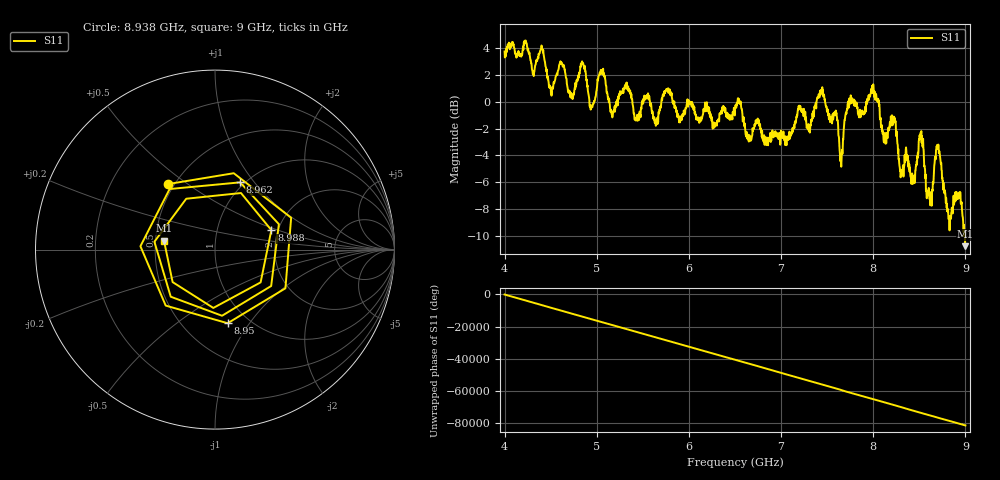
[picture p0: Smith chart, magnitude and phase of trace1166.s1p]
! Created with skrf 1.8.0 (http://scikit-rf.org).
# Hz S RI R 50.0
!freq ReS11 ImS11
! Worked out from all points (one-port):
!   1601 points, 4 GHz to 9 GHz, reference 50 ohm
!   lowest |S11| = -10.8 dB at 9 GHz (marker M1), VSWR 1.81, Z = 27.7 + j3.03 ohm
!   |S11| at or under -10 dB: 8.99049 GHz to 8.991801 GHz (1.311 MHz wide, 0.0146 % of centre); 8.99494 GHz to end of sweep
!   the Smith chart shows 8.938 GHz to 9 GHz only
!   S11 on the Smith chart (normalised r, x): 8.938 GHz: 0.46, +0.42; 8.95 GHz: 0.80, -0.79; 8.962 GHz: 0.95, +0.85; 8.988 GHz: 1.84, +0.45; 9 GHz: 0.55, +0.06
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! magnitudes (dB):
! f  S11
! 4 GHz  3.8
! 4.4 GHz  4.2
! 4.503 GHz  0.6
! 4.625 GHz  2.8
! 4.719 GHz  0.7
! 4.847 GHz  2.8
! 4.944 GHz  -0.4
! 5.044 GHz  2.4
! 5.166 GHz  -0.8
! 5.25 GHz  0.5
! 5.875 GHz  -1.1
! 6.5 GHz  -0.5
! 7.125 GHz  -2.0
! 7.444 GHz  0.7
! 7.65 GHz  -4.6
! 7.75 GHz  0.2
! 8 GHz  1.3
! 8.375 GHz  -4.0
! 8.434 GHz  -5.9
! 8.519 GHz  -2.4
! 8.616 GHz  -7.2
! 8.706 GHz  -3.2
! 8.822 GHz  -8.8
! 8.938 GHz  -7.0
! 8.95 GHz  -7.6
! 8.962 GHz  -8.0
! 8.988 GHz  -9.6
! 9 GHz  -10.8
